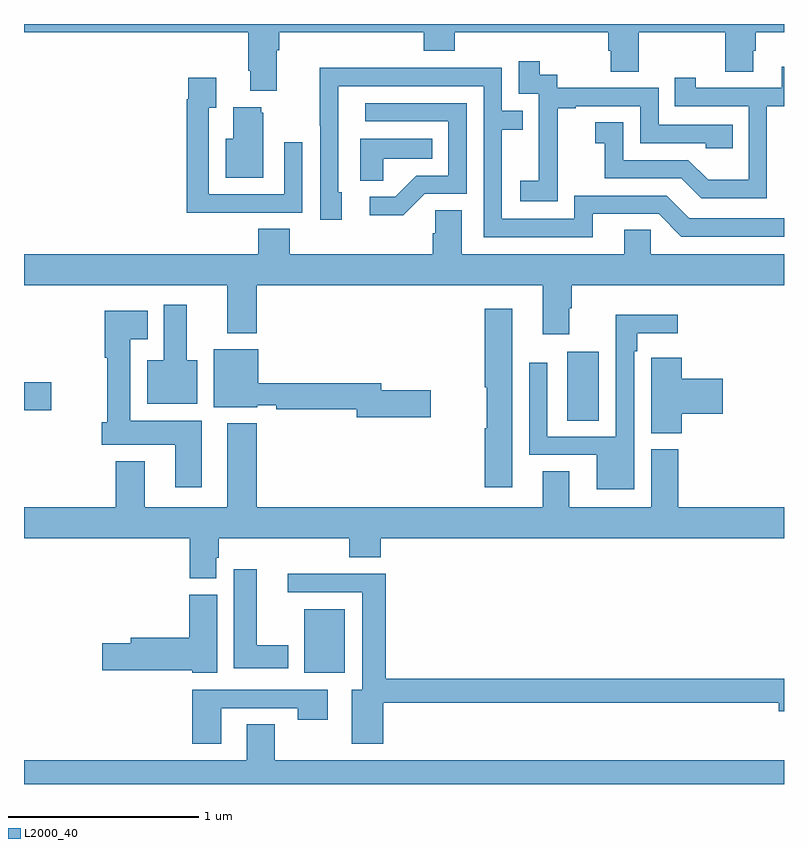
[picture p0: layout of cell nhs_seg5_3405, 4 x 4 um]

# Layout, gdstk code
import gdstk
lib = gdstk.Library(unit=1e-6, precision=1e-09)
def R(c, l, rs):  # rectangles x0, y0, x1, y1
    for r in rs: c.add(gdstk.rectangle(r[:2], r[2:], *l))
def P(c, l, *ps):  # polygons
    for p in ps: c.add(gdstk.Polygon(p, *l))
L2000_40 = (2000, 40)

nhs_seg5_3405 = lib.new_cell('nhs_seg5_3405')
R(nhs_seg5_3405, L2000_40, [(312.476,857.384,312.688,857.719), (313.859,858.712,314.026,859.075), (311,858.767,311.143,858.914)])
P(nhs_seg5_3405, L2000_40, [(314.075,860.658),(314.087,860.658),(314.087,860.548),(314.235,860.548),(314.235,860.756),(314.692,860.756),(314.692,860.548),(314.839,860.548),(314.839,860.658),(314.852,860.658),(314.852,860.756),(315,860.756),(315,860.799),(311,860.799),(311,860.756),(312.179,860.756),(312.179,860.554),(312.191,860.554),(312.191,860.447),(312.331,860.447),(312.331,860.66),(312.344,860.66),(312.344,860.756),(313.103,860.756),(313.103,860.657),(313.268,860.657),(313.268,860.756),(314.075,860.756)],
  [(313.809,860.071),(313.808,860.071),(313.808,860.355),(313.903,860.355),(313.903,860.367),(314.244,860.367),(314.244,860.172),(314.589,860.172),(314.589,860.145),(314.729,860.145),(314.729,860.268),(314.34,860.268),(314.34,860.463),(313.806,860.463),(313.806,860.532),(313.714,860.532),(313.714,860.602),(313.605,860.602),(313.605,860.433),(313.71,860.433),(313.71,860.204),(313.709,860.204),(313.709,859.975),(313.611,859.975),(313.611,859.865),(313.809,859.865)],
  [(314.91,860.367),(315,860.367),(315,860.575),(314.987,860.575),(314.987,860.463),(314.536,860.463),(314.536,860.515),(314.425,860.515),(314.425,860.367),(314.814,860.367),(314.814,859.978),(314.6,859.978),(314.496,860.082),(314.154,860.082),(314.154,860.281),(314.007,860.281),(314.007,860.171),(314.056,860.171),(314.056,859.986),(314.459,859.986),(314.564,859.881),(314.91,859.881)],
  [(313.993,859.8),(314.34,859.8),(314.46,859.68),(315,859.68),(315,859.776),(314.502,859.776),(314.382,859.896),(313.896,859.896),(313.896,859.773),(313.515,859.773),(313.515,860.242),(313.625,860.242),(313.625,860.343),(313.515,860.343),(313.515,860.568),(313.019,860.568),(313.019,860.57),(312.556,860.57),(312.556,860.263),(312.558,860.263),(312.558,859.77),(312.673,859.77),(312.673,859.914),(312.654,859.914),(312.654,860.472),(313.419,860.472),(313.419,859.677),(313.993,859.677)],
  [(312.149,859.806),(312.465,859.806),(312.465,860.176),(312.369,860.176),(312.369,859.902),(311.973,859.902),(311.973,860.359),(312.013,860.359),(312.013,860.515),(311.865,860.515),(311.865,860.402),(311.857,860.402),(311.857,859.805),(312.149,859.805)],
  [(313.11,859.905),(313.329,859.905),(313.329,860.382),(312.795,860.382),(312.795,860.286),(313.233,860.286),(313.233,860.001),(313.064,860.001),(312.953,859.89),(312.819,859.89),(312.819,859.793),(312.997,859.793)],
  [(312.259,860.331),(312.248,860.331),(312.248,860.362),(312.101,860.362),(312.101,860.194),(312.062,860.194),(312.062,859.991),(312.259,859.991)],
  [(312.891,860.09),(313.148,860.09),(313.148,860.194),(312.77,860.194),(312.77,859.975),(312.891,859.975)],
  [(313.87,859.304),(313.883,859.304),(313.883,859.424),(315,859.424),(315,859.588),(314.298,859.588),(314.298,859.715),(314.159,859.715),(314.159,859.588),(313.303,859.588),(313.303,859.82),(313.164,859.82),(313.164,859.697),(313.151,859.697),(313.151,859.588),(312.398,859.588),(312.398,859.721),(312.233,859.721),(312.233,859.588),(311,859.588),(311,859.424),(312.071,859.424),(312.071,859.172),(312.224,859.172),(312.224,859.424),(313.73,859.424),(313.73,859.167),(313.87,859.167)],
  [(311.911,859.03),(311.857,859.03),(311.857,859.321),(311.735,859.321),(311.735,859.03),(311.648,859.03),(311.648,858.8),(311.911,858.8)],
  [(313.57,859.3),(313.424,859.3),(313.424,858.887),(313.436,858.887),(313.436,858.672),(313.424,858.672),(313.424,858.36),(313.57,858.36)],
  [(311.935,858.712),(311.56,858.712),(311.56,859.139),(311.65,859.139),(311.65,859.291),(311.426,859.291),(311.426,859.043),(311.438,859.043),(311.438,858.702),(311.408,858.702),(311.408,858.584),(311.795,858.584),(311.795,858.36),(311.935,858.36)],
  [(314.211,859.076),(314.227,859.076),(314.227,859.172),(314.44,859.172),(314.44,859.27),(314.115,859.27),(314.115,858.627),(313.755,858.627),(313.755,859.015),(313.659,859.015),(313.659,858.531),(314.015,858.531),(314.015,858.35),(314.211,858.35)],
  [(313.141,858.872),(312.88,858.872),(312.88,858.908),(312.232,858.908),(312.232,859.087),(311.999,859.087),(311.999,858.782),(312.228,858.782),(312.228,858.792),(312.328,858.792),(312.328,858.772),(312.752,858.772),(312.752,858.73),(313.141,858.73)],
  [(314.462,858.749),(314.677,858.749),(314.677,858.932),(314.462,858.932),(314.462,859.042),(314.301,859.042),(314.301,858.929),(314.3,858.929),(314.3,858.646),(314.462,858.646)],
  [(312.013,857.991),(312.026,857.991),(312.026,858.092),(312.713,858.092),(312.713,857.993),(312.878,857.993),(312.878,858.092),(315,858.092),(315,858.256),(314.444,858.256),(314.444,858.561),(314.3,858.561),(314.3,858.256),(313.87,858.256),(313.87,858.446),(313.73,858.446),(313.73,858.256),(312.224,858.256),(312.224,858.697),(312.071,858.697),(312.071,858.256),(311.635,858.256),(311.635,858.499),(311.483,858.499),(311.483,858.256),(311,858.256),(311,858.092),(311.873,858.092),(311.873,857.881),(312.013,857.881)],
  [(312.391,857.53),(312.226,857.53),(312.226,857.929),(312.104,857.929),(312.104,857.408),(312.391,857.408)],
  [(312.892,857.226),(314.972,857.226),(314.972,857.183),(315,857.183),(315,857.354),(312.905,857.354),(312.905,857.906),(312.387,857.906),(312.387,857.808),(312.779,857.808),(312.779,857.296),(312.725,857.296),(312.725,857.01),(312.892,857.01)],
  [(312.016,857.796),(311.87,857.796),(311.87,857.57),(311.561,857.57),(311.561,857.54),(311.412,857.54),(311.412,857.398),(311.886,857.398),(311.886,857.384),(312.016,857.384)],
  [(312.037,857.199),(312.442,857.199),(312.442,857.136),(312.598,857.136),(312.598,857.295),(311.885,857.295),(311.885,857.01),(312.037,857.01)],
  [(315,856.924),(312.321,856.924),(312.321,857.114),(312.173,857.114),(312.173,856.924),(311,856.924),(311,856.799),(315,856.799)])

lib.write_gds('nhs_seg5_3405.gds')
